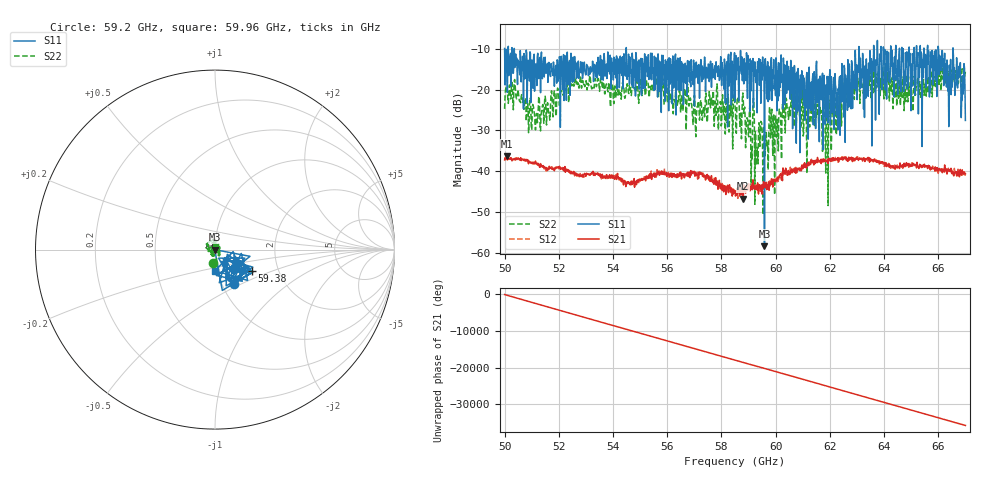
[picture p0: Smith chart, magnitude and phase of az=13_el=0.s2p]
!Created with skrf (http://scikit-rf.org).
# GHz S RI R 50.0
!freq ReS11 ImS11 ReS21 ImS21 ReS12 ImS12 ReS22 ImS22
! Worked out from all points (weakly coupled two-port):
!   1001 points, 50 GHz to 67 GHz, reference 50 ohm
!   highest |S21| = -36.34 dB at 50.09 GHz (marker M1); lowest = -46.7 dB at 58.81 GHz (marker M2)
!   lowest |S11| = -58.4 dB at 59.59 GHz (marker M3), VSWR 1.00, Z = 49.9 - j0.0344 ohm
!   |S11| at or under -10 dB: 50.36 GHz to 54.49 GHz (4.13 GHz wide, 7.88 % of centre); 54.49 GHz to 63.07 GHz (8.582 GHz wide, 14.6 % of centre); 63.08 GHz to 63.61 GHz (538.4 MHz wide, 0.85 % of centre) (the widest 3 of 23)
!   |S22| runs from -50.7 to -13.9 dB; largest |S21 - S12| = 0.0023
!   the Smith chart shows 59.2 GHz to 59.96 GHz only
!   S11 on the Smith chart (normalised r, x): 59.2 GHz: 1.13, -0.46; 59.38 GHz: 1.46, -0.38; 59.96 GHz: 0.97, -0.24
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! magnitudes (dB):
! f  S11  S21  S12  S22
! 50 GHz  -9.9  -37.2  -37.1  -24.7
! 50.09 GHz  -13.7  -36.3  -36.5  -19.9
! 51.16 GHz  -13.8  -38.0  -37.9  -27.9
! 52.84 GHz  -14.1  -41.3  -41.0  -19.7
! 55.68 GHz  -13.5  -40.0  -40.2  -21.9
! 58.5 GHz  -23.0  -44.8  -45.0  -24.0
! 58.81 GHz  -15.3  -46.7  -44.5  -22.8
! 59.2 GHz  -13.2  -44.3  -44.3  -22.7
! 59.38 GHz  -12.4  -43.9  -43.5  -28.1
! 59.59 GHz  -58.4  -43.0  -44.2  -30.2
! 59.84 GHz  -12.2  -41.9  -42.3  -25.3
! 59.96 GHz  -18.4  -42.0  -42.2  -45.7
! 60.64 GHz  -14.6  -39.6  -39.7  -22.3
! 61.34 GHz  -24.9  -38.0  -38.1  -25.7
! 61.88 GHz  -26.8  -37.6  -37.4  -23.4
! 62.55 GHz  -15.0  -36.9  -36.7  -19.6
! 63.01 GHz  -22.5  -37.0  -36.8  -19.8
! 64.18 GHz  -17.9  -38.3  -38.5  -19.0
! 66.08 GHz  -15.2  -39.8  -39.8  -15.7
! 66.42 GHz  -15.7  -40.0  -39.8  -16.3
! 66.75 GHz  -17.1  -39.9  -39.8  -18.4
! 67 GHz  -27.6  -40.6  -40.7  -15.7
